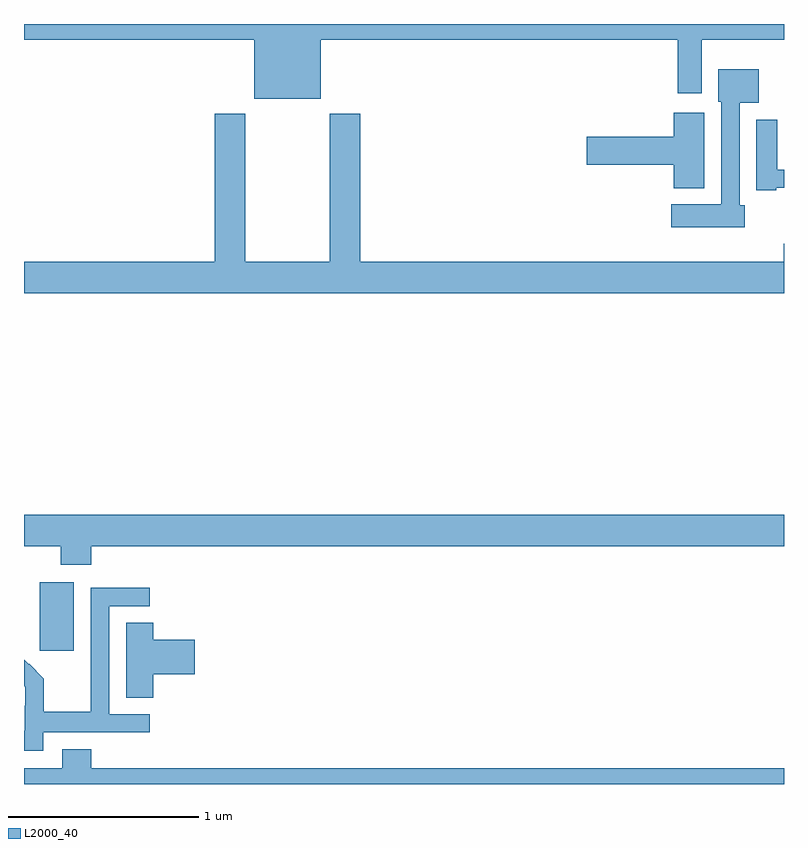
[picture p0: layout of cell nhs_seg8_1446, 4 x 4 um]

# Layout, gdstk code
import gdstk
lib = gdstk.Library(unit=1e-6, precision=1e-09)
def R(c, l, rs):  # rectangles x0, y0, x1, y1
    for r in rs: c.add(gdstk.rectangle(r[:2], r[2:], *l))
def P(c, l, *ps):  # polygons
    for p in ps: c.add(gdstk.Polygon(p, *l))
L2000_40 = (2000, 40)

nhs_seg8_1446 = lib.new_cell('nhs_seg8_1446')
R(nhs_seg8_1446, L2000_40, [(203.084,1130.601,203.263,1130.962)])
P(nhs_seg8_1446, L2000_40, [(204.562,1133.816),(206.441,1133.816),(206.441,1133.535),(206.566,1133.535),(206.566,1133.816),(207,1133.816),(207,1133.9),(203,1133.9),(203,1133.816),(204.212,1133.816),(204.212,1133.507),(204.562,1133.507)],
  [(206.794,1132.947),(206.766,1132.947),(206.766,1133.486),(206.866,1133.486),(206.866,1133.662),(206.654,1133.662),(206.654,1133.49),(206.67,1133.49),(206.67,1132.951),(206.406,1132.951),(206.406,1132.829),(206.794,1132.829)],
  [(206.581,1133.434),(206.42,1133.434),(206.42,1133.306),(205.962,1133.306),(205.962,1133.159),(206.42,1133.159),(206.42,1133.036),(206.581,1133.036)],
  [(207,1132.744),(206.999,1132.744),(206.999,1132.648),(204.77,1132.648),(204.77,1133.428),(204.61,1133.428),(204.61,1132.648),(204.165,1132.648),(204.165,1133.428),(204.005,1133.428),(204.005,1132.648),(203,1132.648),(203,1132.484),(207,1132.484)],
  [(206.959,1133.037),(207,1133.037),(207,1133.133),(206.965,1133.133),(206.965,1133.395),(206.855,1133.395),(206.855,1133.025),(206.959,1133.025)],
  [(203.354,1131.152),(207,1131.152),(207,1131.316),(203,1131.316),(203,1131.152),(203.194,1131.152),(203.194,1131.053),(203.354,1131.053)],
  [(203.1,1130.172),(203.662,1130.172),(203.662,1130.268),(203.448,1130.268),(203.448,1130.835),(203.662,1130.835),(203.662,1130.934),(203.352,1130.934),(203.352,1130.504),(203.35,1130.504),(203.35,1130.281),(203.105,1130.281),(203.105,1130.455),(203.028,1130.532),(203.025,1130.529),(203,1130.554),(203,1130.416),(203.006,1130.41),(203.006,1130.313),(203.004,1130.313),(203.004,1130.179),(203,1130.179),(203,1130.075),(203.1,1130.075)],
  [(203.681,1130.477),(203.899,1130.477),(203.899,1130.66),(203.681,1130.66),(203.681,1130.75),(203.537,1130.75),(203.537,1130.353),(203.681,1130.353)],
  [(207,1129.984),(203.354,1129.984),(203.354,1130.083),(203.201,1130.083),(203.201,1129.984),(203,1129.984),(203,1129.9),(207,1129.9)])

lib.write_gds('nhs_seg8_1446.gds')
